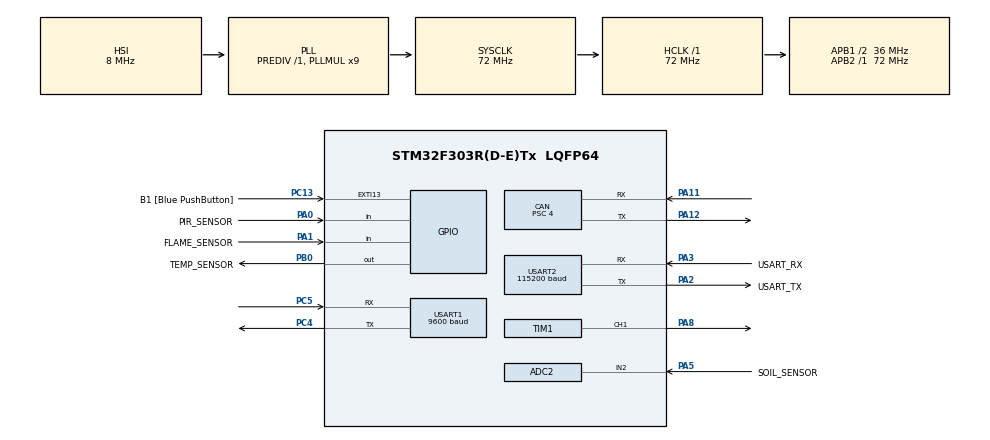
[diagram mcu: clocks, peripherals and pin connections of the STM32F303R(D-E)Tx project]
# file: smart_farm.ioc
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ADC2.Channel-6\#ChannelRegularConversion=ADC_CHANNEL_2
ADC2.NbrOfConversionFlag=1
ADC2.Offset-6\#ChannelRegularConversion=0
ADC2.OffsetNumber-6\#ChannelRegularConversion=ADC_OFFSET_NONE
ADC2.Rank-6\#ChannelRegularConversion=1
ADC2.SamplingTime-6\#ChannelRegularConversion=ADC_SAMPLETIME_1CYCLE_5
ADC2.SamplingTimeOPAMP-6\#ChannelRegularConversion=ADC_SAMPLETIME_61CYCLES_5
CAN.BS1=CAN_BS1_13TQ
CAN.BS2=CAN_BS2_4TQ
CAN.CalculateBaudRate=500000
CAN.CalculateTimeBit=2000
CAN.CalculateTimeQuantum=111.11111111111111
CAN.Prescaler=4
Dma.Request0=TIM1_CH1
Dma.TIM1_CH1.0.Direction=DMA_MEMORY_TO_PERIPH
Dma.TIM1_CH1.0.Instance=DMA1_Channel2
Dma.TIM1_CH1.0.MemDataAlignment=DMA_MDATAALIGN_HALFWORD
Dma.TIM1_CH1.0.MemInc=DMA_MINC_ENABLE
Dma.TIM1_CH1.0.Mode=DMA_NORMAL
Dma.TIM1_CH1.0.PeriphDataAlignment=DMA_PDATAALIGN_HALFWORD
Dma.TIM1_CH1.0.PeriphInc=DMA_PINC_DISABLE
Dma.TIM1_CH1.0.Priority=DMA_PRIORITY_LOW
FREERTOS.Queues01=envQueue,5,8,1,Dynamic,NULL,NULL;eventQueue,5,8,1,Dynamic,NULL,NULL
FREERTOS.Tasks01=Sensor1Task,24,256,StartSensor1Task,Default,NULL,Dynamic,NULL,NULL;Sensor2Task,16,128,StartSensor2Task,Default,NULL,Dynamic,NULL,NULL;CanTxTask,32,128,StartCanTxTask,Default,NULL,Dynamic,NULL,NULL
Mcu.Family=STM32F3
Mcu.Name=STM32F303R(D-E)Tx
Mcu.Package=LQFP64
NVIC.DMA1_Channel2_IRQn=true\:5\:0\:false\:false\:true\:true\:false\:true\:true
NVIC.PriorityGroup=NVIC_PRIORITYGROUP_4
NVIC.USB_LP_CAN_RX0_IRQn=true\:5\:0\:false\:false\:true\:true\:true\:true\:true
PA0.GPIO_Label=PIR_SENSOR
PA0.Signal=GPIO_Input
PA1.GPIO_Label=FLAME_SENSOR
PA1.Signal=GPIO_Input
PA11.Mode=CAN_Activate
PA11.Signal=CAN_RX
PA12.Mode=CAN_Activate
PA12.Signal=CAN_TX
PA13.GPIO_Label=TMS
PA13.Mode=Serial_Wire
PA13.Signal=SYS_JTMS-SWDIO
PA14.GPIO_Label=TCK
PA14.Mode=Serial_Wire
PA14.Signal=SYS_JTCK-SWCLK
PA2.GPIO_Label=USART_TX
PA2.GPIO_Mode=GPIO_MODE_AF_PP
PA2.GPIO_PuPd=GPIO_NOPULL
PA2.GPIO_Speed=GPIO_SPEED_FREQ_LOW
PA2.Mode=Asynchronous
PA2.Signal=USART2_TX
PA3.GPIO_Label=USART_RX
PA3.GPIO_Mode=GPIO_MODE_AF_PP
PA3.GPIO_PuPd=GPIO_NOPULL
PA3.GPIO_Speed=GPIO_SPEED_FREQ_LOW
PA3.Mode=Asynchronous
PA3.Signal=USART2_RX
PA4.Signal=ADC2_IN1
PA5.GPIO_Label=SOIL_SENSOR
PA5.Mode=IN2-Single-Ended
PA5.Signal=ADC2_IN2
PA8.Signal=S_TIM1_CH1
PB0.GPIO_Label=TEMP_SENSOR
PB0.Signal=GPIO_Output
PB3.GPIO_Label=SWO
PB3.Signal=SYS_JTDO-TRACESWO
PC13.GPIO_Label=B1 [Blue PushButton]
PC13.GPIO_ModeDefaultEXTI=GPIO_MODE_IT_FALLING
PC13.Signal=GPXTI13
PC14-OSC32_IN.Mode=LSE-External-Oscillator
PC14-OSC32_IN.Signal=RCC_OSC32_IN
PC15-OSC32_OUT.Mode=LSE-External-Oscillator
PC15-OSC32_OUT.Signal=RCC_OSC32_OUT
PC4.Mode=Asynchronous
PC4.Signal=USART1_TX
PC5.Mode=Asynchronous
PC5.Signal=USART1_RX
PF0-OSC_IN.Mode=HSE-External-Clock-Source
PF0-OSC_IN.Signal=RCC_OSC_IN
PF1-OSC_OUT.Signal=RCC_OSC_OUT
ProjectManager.HeapSize=0x200
ProjectManager.StackSize=0x400
ProjectManager.TargetToolchain=STM32CubeIDE
RCC.AHBFreq_Value=72000000
RCC.APB1CLKDivider=RCC_HCLK_DIV2
RCC.APB1Freq_Value=36000000
RCC.APB1TimFreq_Value=72000000
RCC.APB2Freq_Value=72000000
RCC.APB2TimFreq_Value=72000000
RCC.CortexFreq_Value=72000000
RCC.HCLKFreq_Value=72000000
RCC.HSE_VALUE=8000000
RCC.HSI_VALUE=8000000
RCC.PLLM=8
RCC.PLLMUL=RCC_PLL_MUL9
RCC.PLLN=336
RCC.PLLP=RCC_PLLP_DIV4
RCC.PLLQ=7
RCC.RCC_PLLsource_Clock_Source_FROM_HSE=RCC_HSE_PREDIV_DIV2
RCC.SYSCLKFreq_VALUE=72000000
RCC.SYSCLKSourceVirtual=RCC_SYSCLKSOURCE_PLLCLK
RCC.USBFreq_Value=72000000
SH.S_TIM1_CH1.0=TIM1_CH1,PWM Generation1 CH1
TIM1.Channel-PWM\ Generation1\ CH1=TIM_CHANNEL_1
TIM1.Period=89
USART1.BaudRate=9600
USART1.VirtualMode-Asynchronous=VM_ASYNC
USART2.BaudRate=115200
USART2.VirtualMode-Asynchronous=VM_ASYNC
VP_FREERTOS_VS_CMSIS_V2.Mode=CMSIS_V2
VP_TIM1_VS_ClockSourceINT.Mode=Internal
board=NUCLEO-F303RE

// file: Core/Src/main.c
/* USER CODE BEGIN Header */
/**
  ******************************************************************************
  * @file           : main.c
  * @brief          : Main program body
  ******************************************************************************
  * @attention
  *
  * Copyright (c) 2026 STMicroelectronics.
  * All rights reserved.
  *
  * This software is licensed under terms that can be found in the LICENSE file
  * in the root directory of this software component.
  * If no LICENSE file comes with this software, it is provided AS-IS.
  *
  ******************************************************************************
  */
/* USER CODE END Header */
#include "main.h"
#include "cmsis_os.h"

/* USER CODE BEGIN Includes */
#include <stdio.h>
#include "can_data.h"
#include "DHT22.h"

/* USER CODE END Includes */

/* USER CODE BEGIN PD */
//LED
#define LED_COUNT 16
//CAN
#define ROLE_SENDER 1

/* USER CODE END PD */

ADC_HandleTypeDef hadc2;

CAN_HandleTypeDef hcan;

TIM_HandleTypeDef htim1;
DMA_HandleTypeDef hdma_tim1_ch1;

UART_HandleTypeDef huart1;
UART_HandleTypeDef huart2;

/* Definitions for Sensor1Task */
osThreadId_t Sensor1TaskHandle;
const osThreadAttr_t Sensor1Task_attributes = {
  .name = "Sensor1Task",
  .stack_size = 256 * 4,
  .priority = (osPriority_t) osPriorityNormal,
};
/* Definitions for Sensor2Task */
osThreadId_t Sensor2TaskHandle;
const osThreadAttr_t Sensor2Task_attributes = {
  .name = "Sensor2Task",
  .stack_size = 128 * 4,
  .priority = (osPriority_t) osPriorityBelowNormal,
};
/* Definitions for CanTxTask */
osThreadId_t CanTxTaskHandle;
const osThreadAttr_t CanTxTask_attributes = {
  .name = "CanTxTask",
  .stack_size = 128 * 4,
  .priority = (osPriority_t) osPriorityAboveNormal,
};
/* Definitions for envQueue */
osMessageQueueId_t envQueueHandle;
const osMessageQueueAttr_t envQueue_attributes = {
  .name = "envQueue"
};
/* Definitions for eventQueue */
osMessageQueueId_t eventQueueHandle;
const osMessageQueueAttr_t eventQueue_attributes = {
  .name = "eventQueue"
};
/* USER CODE BEGIN PV */
//?��?��?��?��?�� ?��?���????????????�� �????????????��

// LED

uint8_t led_data[LED_COUNT][3];
uint16_t pwm_data[(24 * LED_COUNT) + 50];
uint8_t datasentflag = 0;

//CAN
CAN_TxHeaderTypeDef TxHeader;
uint8_t TxData[8];
uint32_t TxMailbox;

/* USER CODE END PV */

void SystemClock_Config(void);
static void MX_GPIO_Init(void);
static void MX_DMA_Init(void);
static void MX_USART2_UART_Init(void);
static void MX_USART1_UART_Init(void);
static void MX_ADC2_Init(void);
static void MX_TIM1_Init(void);
static void MX_CAN_Init(void);
void StartSensor1Task(void *argument);
void StartSensor2Task(void *argument);
void StartCanTxTask(void *argument);

/* USER CODE BEGIN PFP */
void WS2812_SetLED(uint8_t led, uint8_t red, uint8_t green, uint8_t blue);
void WS2812_Send(void);

/* USER CODE END PFP */

/* USER CODE BEGIN 0 */
uint16_t Soil_Read(void)
{
		uint16_t soil_value = 0;

		HAL_ADC_Start(&hadc2);

		if (HAL_ADC_PollForConversion(&hadc2, 100) == HAL_OK)
		{
			soil_value = HAL_ADC_GetValue(&hadc2);
		}

		 HAL_ADC_Stop(&hadc2);

		 return soil_value;
}
uint16_t MHZ19_ReadCO2(void)
{
    uint8_t cmd[9] = {0xFF,0x01,0x86,0x00,0x00,0x00,0x00,0x00,0x79};
    uint8_t rx[9] = {0};
    uint16_t co2 = 0;

    HAL_UART_Transmit(&huart1, cmd, 9, 1000);

    if(HAL_UART_Receive(&huart1, rx, 9, 1000) == HAL_OK)
    {
        if(rx[0] == 0xFF && rx[1] == 0x86)
        {
            co2 = (rx[2] << 8) | rx[3];
        }
    }

    return co2;
}

/* USER CODE END 0 */

int main(void)
{

  /* MCU Configuration--------------------------------------------------------*/

  /* Reset of all peripherals, Initializes the Flash interface and the Systick. */
  HAL_Init();

  /* Configure the system clock */
  SystemClock_Config();

  /* Initialize all configured peripherals */
  MX_GPIO_Init();
  MX_DMA_Init();
  MX_USART2_UART_Init();
  MX_USART1_UART_Init();
  MX_ADC2_Init();
  MX_TIM1_Init();
  MX_CAN_Init();
  /* USER CODE BEGIN 2 */
  HAL_ADCEx_Calibration_Start(&hadc2, ADC_SINGLE_ENDED);
  HAL_CAN_Start(&hcan);
  /* USER CODE END 2 */

  /* Init scheduler */
  osKernelInitialize();

  /* Create the queue(s) */
  /* creation of envQueue */
  envQueueHandle = osMessageQueueNew (5, 8, &envQueue_attributes);

  /* creation of eventQueue */
  eventQueueHandle = osMessageQueueNew (5, 8, &eventQueue_attributes);

  /* Create the thread(s) */
  /* creation of Sensor1Task */
  Sensor1TaskHandle = osThreadNew(StartSensor1Task, NULL, &Sensor1Task_attributes);

  /* creation of Sensor2Task */
  Sensor2TaskHandle = osThreadNew(StartSensor2Task, NULL, &Sensor2Task_attributes);

  /* creation of CanTxTask */
  CanTxTaskHandle = osThreadNew(StartCanTxTask, NULL, &CanTxTask_attributes);

  /* Start scheduler */
  osKernelStart();
  /* We should never get here as control is now taken by the scheduler */
  /* Infinite loop */
  /* USER CODE BEGIN WHILE */
  while (1)
  {

  }

  /* USER CODE END 3 */
}

void SystemClock_Config(void)
{
  RCC_OscInitTypeDef RCC_OscInitStruct = {0};
  RCC_ClkInitTypeDef RCC_ClkInitStruct = {0};
  RCC_PeriphCLKInitTypeDef PeriphClkInit = {0};

  /** Initializes the RCC Oscillators according to the specified parameters
  * in the RCC_OscInitTypeDef structure.
  */
  RCC_OscInitStruct.OscillatorType = RCC_OSCILLATORTYPE_HSI;
  RCC_OscInitStruct.HSIState = RCC_HSI_ON;
  RCC_OscInitStruct.HSICalibrationValue = RCC_HSICALIBRATION_DEFAULT;
  RCC_OscInitStruct.PLL.PLLState = RCC_PLL_ON;
  RCC_OscInitStruct.PLL.PLLSource = RCC_PLLSOURCE_HSI;
  RCC_OscInitStruct.PLL.PLLMUL = RCC_PLL_MUL9;
  RCC_OscInitStruct.PLL.PREDIV = RCC_PREDIV_DIV1;
  if (HAL_RCC_OscConfig(&RCC_OscInitStruct) != HAL_OK)
  {
    Error_Handler();
  }

  /** Initializes the CPU, AHB and APB buses clocks
  */
  RCC_ClkInitStruct.ClockType = RCC_CLOCKTYPE_HCLK|RCC_CLOCKTYPE_SYSCLK
                              |RCC_CLOCKTYPE_PCLK1|RCC_CLOCKTYPE_PCLK2;
  RCC_ClkInitStruct.SYSCLKSource = RCC_SYSCLKSOURCE_PLLCLK;
  RCC_ClkInitStruct.AHBCLKDivider = RCC_SYSCLK_DIV1;
  RCC_ClkInitStruct.APB1CLKDivider = RCC_HCLK_DIV2;
  RCC_ClkInitStruct.APB2CLKDivider = RCC_HCLK_DIV1;

  if (HAL_RCC_ClockConfig(&RCC_ClkInitStruct, FLASH_LATENCY_2) != HAL_OK)
  {
    Error_Handler();
  }
  PeriphClkInit.PeriphClockSelection = RCC_PERIPHCLK_USART1|RCC_PERIPHCLK_USART2
                              |RCC_PERIPHCLK_TIM1|RCC_PERIPHCLK_ADC12;
  PeriphClkInit.Usart1ClockSelection = RCC_USART1CLKSOURCE_PCLK2;
  PeriphClkInit.Usart2ClockSelection = RCC_USART2CLKSOURCE_PCLK1;
  PeriphClkInit.Adc12ClockSelection = RCC_ADC12PLLCLK_DIV1;
  PeriphClkInit.Tim1ClockSelection = RCC_TIM1CLK_HCLK;
  if (HAL_RCCEx_PeriphCLKConfig(&PeriphClkInit) != HAL_OK)
  {
    Error_Handler();
  }
}

static void MX_ADC2_Init(void)
{

  ADC_ChannelConfTypeDef sConfig = {0};

  /** Common config
  */
  hadc2.Instance = ADC2;
  hadc2.Init.ClockPrescaler = ADC_CLOCK_ASYNC_DIV1;
  hadc2.Init.Resolution = ADC_RESOLUTION_12B;
  hadc2.Init.ScanConvMode = ADC_SCAN_DISABLE;
  hadc2.Init.ContinuousConvMode = DISABLE;
  hadc2.Init.DiscontinuousConvMode = DISABLE;
  hadc2.Init.ExternalTrigConvEdge = ADC_EXTERNALTRIGCONVEDGE_NONE;
  hadc2.Init.ExternalTrigConv = ADC_SOFTWARE_START;
  hadc2.Init.DataAlign = ADC_DATAALIGN_RIGHT;
  hadc2.Init.NbrOfConversion = 1;
  hadc2.Init.DMAContinuousRequests = DISABLE;
  hadc2.Init.EOCSelection = ADC_EOC_SINGLE_CONV;
  hadc2.Init.LowPowerAutoWait = DISABLE;
  hadc2.Init.Overrun = ADC_OVR_DATA_OVERWRITTEN;
  if (HAL_ADC_Init(&hadc2) != HAL_OK)
  {
    Error_Handler();
  }

  /** Configure Regular Channel
  */
  sConfig.Channel = ADC_CHANNEL_2;
  sConfig.Rank = ADC_REGULAR_RANK_1;
  sConfig.SingleDiff = ADC_SINGLE_ENDED;
  sConfig.SamplingTime = ADC_SAMPLETIME_1CYCLE_5;
  sConfig.OffsetNumber = ADC_OFFSET_NONE;
  sConfig.Offset = 0;
  if (HAL_ADC_ConfigChannel(&hadc2, &sConfig) != HAL_OK)
  {
    Error_Handler();
  }

}

static void MX_CAN_Init(void)
{

  hcan.Instance = CAN;
  hcan.Init.Prescaler = 4;
  hcan.Init.Mode = CAN_MODE_NORMAL;
  hcan.Init.SyncJumpWidth = CAN_SJW_1TQ;
  hcan.Init.TimeSeg1 = CAN_BS1_13TQ;
  hcan.Init.TimeSeg2 = CAN_BS2_4TQ;
  hcan.Init.TimeTriggeredMode = DISABLE;
  hcan.Init.AutoBusOff = DISABLE;
  hcan.Init.AutoWakeUp = DISABLE;
  hcan.Init.AutoRetransmission = DISABLE;
  hcan.Init.ReceiveFifoLocked = DISABLE;
  hcan.Init.TransmitFifoPriority = DISABLE;
  if (HAL_CAN_Init(&hcan) != HAL_OK)
  {
    Error_Handler();
  }

}

static void MX_TIM1_Init(void)
{

  TIM_ClockConfigTypeDef sClockSourceConfig = {0};
  TIM_MasterConfigTypeDef sMasterConfig = {0};
  TIM_OC_InitTypeDef sConfigOC = {0};
  TIM_BreakDeadTimeConfigTypeDef sBreakDeadTimeConfig = {0};

  htim1.Instance = TIM1;
  htim1.Init.Prescaler = 0;
  htim1.Init.CounterMode = TIM_COUNTERMODE_UP;
  htim1.Init.Period = 89;
  htim1.Init.ClockDivision = TIM_CLOCKDIVISION_DIV1;
  htim1.Init.RepetitionCounter = 0;
  htim1.Init.AutoReloadPreload = TIM_AUTORELOAD_PRELOAD_DISABLE;
  if (HAL_TIM_Base_Init(&htim1) != HAL_OK)
  {
    Error_Handler();
  }
  sClockSourceConfig.ClockSource = TIM_CLOCKSOURCE_INTERNAL;
  if (HAL_TIM_ConfigClockSource(&htim1, &sClockSourceConfig) != HAL_OK)
  {
    Error_Handler();
  }
  if (HAL_TIM_PWM_Init(&htim1) != HAL_OK)
  {
    Error_Handler();
  }
  sMasterConfig.MasterOutputTrigger = TIM_TRGO_RESET;
  sMasterConfig.MasterOutputTrigger2 = TIM_TRGO2_RESET;
  sMasterConfig.MasterSlaveMode = TIM_MASTERSLAVEMODE_DISABLE;
  if (HAL_TIMEx_MasterConfigSynchronization(&htim1, &sMasterConfig) != HAL_OK)
  {
    Error_Handler();
  }
  sConfigOC.OCMode = TIM_OCMODE_PWM1;
  sConfigOC.Pulse = 0;
  sConfigOC.OCPolarity = TIM_OCPOLARITY_HIGH;
  sConfigOC.OCNPolarity = TIM_OCNPOLARITY_HIGH;
  sConfigOC.OCFastMode = TIM_OCFAST_DISABLE;
  sConfigOC.OCIdleState = TIM_OCIDLESTATE_RESET;
  sConfigOC.OCNIdleState = TIM_OCNIDLESTATE_RESET;
  if (HAL_TIM_PWM_ConfigChannel(&htim1, &sConfigOC, TIM_CHANNEL_1) != HAL_OK)
  {
    Error_Handler();
  }
  sBreakDeadTimeConfig.OffStateRunMode = TIM_OSSR_DISABLE;
  sBreakDeadTimeConfig.OffStateIDLEMode = TIM_OSSI_DISABLE;
  sBreakDeadTimeConfig.LockLevel = TIM_LOCKLEVEL_OFF;
  sBreakDeadTimeConfig.DeadTime = 0;
  sBreakDeadTimeConfig.BreakState = TIM_BREAK_DISABLE;
  sBreakDeadTimeConfig.BreakPolarity = TIM_BREAKPOLARITY_HIGH;
  sBreakDeadTimeConfig.BreakFilter = 0;
  sBreakDeadTimeConfig.Break2State = TIM_BREAK2_DISABLE;
  sBreakDeadTimeConfig.Break2Polarity = TIM_BREAK2POLARITY_HIGH;
  sBreakDeadTimeConfig.Break2Filter = 0;
  sBreakDeadTimeConfig.AutomaticOutput = TIM_AUTOMATICOUTPUT_DISABLE;
  if (HAL_TIMEx_ConfigBreakDeadTime(&htim1, &sBreakDeadTimeConfig) != HAL_OK)
  {
    Error_Handler();
  }
  HAL_TIM_MspPostInit(&htim1);

}

static void MX_USART1_UART_Init(void)
{

  huart1.Instance = USART1;
  huart1.Init.BaudRate = 9600;
  huart1.Init.WordLength = UART_WORDLENGTH_8B;
  huart1.Init.StopBits = UART_STOPBITS_1;
  huart1.Init.Parity = UART_PARITY_NONE;
  huart1.Init.Mode = UART_MODE_TX_RX;
  huart1.Init.HwFlowCtl = UART_HWCONTROL_NONE;
  huart1.Init.OverSampling = UART_OVERSAMPLING_16;
  huart1.Init.OneBitSampling = UART_ONE_BIT_SAMPLE_DISABLE;
  huart1.AdvancedInit.AdvFeatureInit = UART_ADVFEATURE_NO_INIT;
  if (HAL_UART_Init(&huart1) != HAL_OK)
  {
    Error_Handler();
  }

}

static void MX_USART2_UART_Init(void)
{

  huart2.Instance = USART2;
  huart2.Init.BaudRate = 115200;
  huart2.Init.WordLength = UART_WORDLENGTH_8B;
  huart2.Init.StopBits = UART_STOPBITS_1;
  huart2.Init.Parity = UART_PARITY_NONE;
  huart2.Init.Mode = UART_MODE_TX_RX;
  huart2.Init.HwFlowCtl = UART_HWCONTROL_NONE;
  huart2.Init.OverSampling = UART_OVERSAMPLING_16;
  huart2.Init.OneBitSampling = UART_ONE_BIT_SAMPLE_DISABLE;
  huart2.AdvancedInit.AdvFeatureInit = UART_ADVFEATURE_NO_INIT;
  if (HAL_UART_Init(&huart2) != HAL_OK)
  {
    Error_Handler();
  }

}

static void MX_DMA_Init(void)
{

  /* DMA controller clock enable */
  __HAL_RCC_DMA1_CLK_ENABLE();

  /* DMA interrupt init */
  /* DMA1_Channel2_IRQn interrupt configuration */
  HAL_NVIC_SetPriority(DMA1_Channel2_IRQn, 5, 0);
  HAL_NVIC_EnableIRQ(DMA1_Channel2_IRQn);

}

static void MX_GPIO_Init(void)
{
  GPIO_InitTypeDef GPIO_InitStruct = {0};

  /* GPIO Ports Clock Enable */
  __HAL_RCC_GPIOC_CLK_ENABLE();
  __HAL_RCC_GPIOF_CLK_ENABLE();
  __HAL_RCC_GPIOA_CLK_ENABLE();
  __HAL_RCC_GPIOB_CLK_ENABLE();

  /*Configure GPIO pin Output Level */
  HAL_GPIO_WritePin(TEMP_SENSOR_GPIO_Port, TEMP_SENSOR_Pin, GPIO_PIN_RESET);

  /*Configure GPIO pin : B1_Pin */
  GPIO_InitStruct.Pin = B1_Pin;
  GPIO_InitStruct.Mode = GPIO_MODE_IT_FALLING;
  GPIO_InitStruct.Pull = GPIO_NOPULL;
  HAL_GPIO_Init(B1_GPIO_Port, &GPIO_InitStruct);

  /*Configure GPIO pins : PIR_SENSOR_Pin FLAME_SENSOR_Pin */
  GPIO_InitStruct.Pin = PIR_SENSOR_Pin|FLAME_SENSOR_Pin;
  GPIO_InitStruct.Mode = GPIO_MODE_INPUT;
  GPIO_InitStruct.Pull = GPIO_NOPULL;
  HAL_GPIO_Init(GPIOA, &GPIO_InitStruct);

  /*Configure GPIO pin : TEMP_SENSOR_Pin */
  GPIO_InitStruct.Pin = TEMP_SENSOR_Pin;
  GPIO_InitStruct.Mode = GPIO_MODE_OUTPUT_PP;
  GPIO_InitStruct.Pull = GPIO_NOPULL;
  GPIO_InitStruct.Speed = GPIO_SPEED_FREQ_LOW;
  HAL_GPIO_Init(TEMP_SENSOR_GPIO_Port, &GPIO_InitStruct);

}

/* USER CODE BEGIN 4 */
int _write(int file, char *ptr, int len)
{
    HAL_UART_Transmit(&huart2, (uint8_t*)ptr, len, HAL_MAX_DELAY);
    return len;
}

void HAL_TIM_PWM_PulseFinishedCallback(TIM_HandleTypeDef *htim)
{
    HAL_TIM_PWM_Stop_DMA(&htim1, TIM_CHANNEL_1);
    datasentflag = 1;
}

void WS2812_SetLED(uint8_t led, uint8_t red, uint8_t green, uint8_t blue)
{
    led_data[led][0] = green;
    led_data[led][1] = red;
    led_data[led][2] = blue;
}

void WS2812_Send(void)
{
    uint32_t indx = 0;

    for (int i = 0; i < LED_COUNT; i++)
    {
        for (int color = 0; color < 3; color++)
        {
            for (int bit = 7; bit >= 0; bit--)
            {
                if (led_data[i][color] & (1 << bit))
                    pwm_data[indx] = 58;   // 1
                else
                    pwm_data[indx] = 29;   // 0

                indx++;
            }
        }
    }

    for (int i = 0; i < 50; i++)
    {
        pwm_data[indx++] = 0;
    }

    datasentflag = 0;
    HAL_TIM_PWM_Start_DMA(&htim1, TIM_CHANNEL_1, pwm_data, indx);

    while (!datasentflag);
}

void CAN_Send_Env(ENV_DATA_t *env)
{
    TxHeader.StdId = CAN_ID_ENV;
    TxHeader.ExtId = 0x00;
    TxHeader.IDE = CAN_ID_STD;
    TxHeader.RTR = CAN_RTR_DATA;
    TxHeader.DLC = 8;
    TxHeader.TransmitGlobalTime = DISABLE;

    TxData[0] = env->temp;
    TxData[1] = env->humi;
    TxData[2] = env->co2 >> 8;
    TxData[3] = env->co2 & 0xFF;
    TxData[4] = env->soil >> 8;
    TxData[5] = env->soil & 0xFF;
    TxData[6] = 0;
    TxData[7] = 0;

    HAL_CAN_AddTxMessage(&hcan, &TxHeader, TxData, &TxMailbox);
}

void CAN_Send_Event(EVENT_DATA_t *event)
{
    TxHeader.StdId = CAN_ID_EVENT;
    TxHeader.ExtId = 0x00;
    TxHeader.IDE = CAN_ID_STD;
    TxHeader.RTR = CAN_RTR_DATA;
    TxHeader.DLC = 8;
    TxHeader.TransmitGlobalTime = DISABLE;

    TxData[0] = event->pir;
    TxData[1] = event->flame;
    TxData[2] = 0;
    TxData[3] = 0;
    TxData[4] = 0;
    TxData[5] = 0;
    TxData[6] = 0;
    TxData[7] = 0;

    HAL_CAN_AddTxMessage(&hcan, &TxHeader, TxData, &TxMailbox);
}

/* USER CODE END 4 */

void StartSensor1Task(void *argument)
{
  /* USER CODE BEGIN 5 */
    ENV_DATA_t env;
    DHT22_Data_t dht;

    DHT22_Init(TEMP_SENSOR_GPIO_Port, TEMP_SENSOR_Pin);
    uint8_t dht_result;
    osDelay(2000);   // sensor ?��?��?��
  /* Infinite loop */
  for(;;)
  {

      // DHT22
	  osKernelLock();
	  dht_result = DHT22_ReadData(&dht);
	  osKernelUnlock();

      if (dht_result == DHT22_OK)
      {
          env.temp = (uint8_t)dht.temperature;
          env.humi = (uint8_t)dht.humidity;
      }
      else
      {
          env.temp = 0;
          env.humi = 0;
      }

	    // MH-Z19
	    env.co2 = MHZ19_ReadCO2();
	    // Soil ADC
	    env.soil = Soil_Read();

	    // 4. Queue ?��?��`
	    osMessageQueuePut(envQueueHandle, &env, 0, 0);

	    osDelay(5000);
  }
  /* USER CODE END 5 */
}

void StartSensor2Task(void *argument)
{
  /* USER CODE BEGIN StartSensor2Task */
  /* Infinite loop */
	EVENT_DATA_t event;

	  uint8_t pir_now = 0;
	  uint8_t flame_now = 0;
	  uint32_t pirHoldUntil = 0;

	  for(;;)
	  {
	      pir_now = HAL_GPIO_ReadPin(PIR_SENSOR_GPIO_Port, PIR_SENSOR_Pin);

	      // Flame 센서는 보통 감지 시 LOW라서 반전
	      flame_now = !HAL_GPIO_ReadPin(FLAME_SENSOR_GPIO_Port, FLAME_SENSOR_Pin);

	      if(pir_now == 1)
	      {
	          pirHoldUntil = HAL_GetTick() + 5000;
	      }

	      event.pir = (HAL_GetTick() < pirHoldUntil) ? 1 : 0;
	      event.flame = flame_now;

	      osMessageQueuePut(eventQueueHandle, &event, 0, 0);

	      printf("[EVENT] PIR:%d FLAME:%d\r\n", event.pir, event.flame);

	      osDelay(100);
	  }
  /* USER CODE END StartSensor2Task */
}

void StartCanTxTask(void *argument)
{
  /* USER CODE BEGIN StartCanTxTask */
  /* Infinite loop */
	  ENV_DATA_t env;
	  EVENT_DATA_t event;
	  for(;;)
	  {
	    if(osMessageQueueGet(envQueueHandle, &env, NULL, 0) == osOK)
	    {
			CAN_Send_Env(&env);
	    }
	    if(osMessageQueueGet(eventQueueHandle, &event, NULL, 0) == osOK)
	    {
	      CAN_Send_Event(&event);
	    }

	    osDelay(1);

	  }

  /* USER CODE END StartCanTxTask */
}

void Error_Handler(void)
{
  __disable_irq();
  while (1)
  {
  }
}
